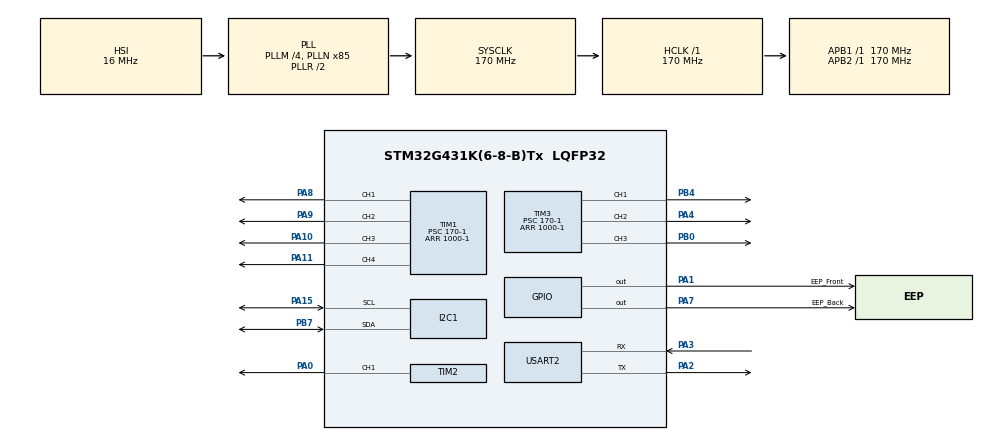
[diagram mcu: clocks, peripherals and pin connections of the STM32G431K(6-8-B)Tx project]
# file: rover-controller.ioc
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I2C1.Timing=0x40B285C2
Mcu.Family=STM32G4
Mcu.Name=STM32G431K(6-8-B)Tx
Mcu.Package=LQFP32
NUCLEO-G431KB.LD2=true
NUCLEO-G431KB.VCP=false
NVIC.I2C1_ER_IRQn=true\:5\:0\:true\:false\:true\:true\:true\:true
NVIC.I2C1_EV_IRQn=true\:5\:0\:true\:false\:true\:true\:true\:true
NVIC.PriorityGroup=NVIC_PRIORITYGROUP_4
PA0.Signal=S_TIM2_CH1
PA1.GPIO_Label=EEP_Front
PA1.Signal=GPIO_Output
PA10.Signal=S_TIM1_CH3
PA11.Signal=S_TIM1_CH4
PA13.Signal=SYS_JTMS-SWDIO
PA14.GPIO_Label=T_SWCLK
PA14.Signal=SYS_JTCK-SWCLK
PA15.Mode=I2C
PA15.Signal=I2C1_SCL
PA2.Mode=Asynchronous
PA2.Signal=USART2_TX
PA3.Mode=Asynchronous
PA3.Signal=USART2_RX
PA4.Signal=S_TIM3_CH2
PA7.GPIO_Label=EEP_Back
PA7.Signal=GPIO_Output
PA8.Signal=S_TIM1_CH1
PA9.Signal=S_TIM1_CH2
PB0.Signal=S_TIM3_CH3
PB4.Signal=S_TIM3_CH1
PB7.Mode=I2C
PB7.Signal=I2C1_SDA
ProjectManager.HeapSize=0x200
ProjectManager.StackSize=0x400
ProjectManager.TargetToolchain=STM32CubeIDE
RCC.ADC12Freq_Value=170000000
RCC.AHBFreq_Value=170000000
RCC.APB1Freq_Value=170000000
RCC.APB1TimFreq_Value=170000000
RCC.APB2Freq_Value=170000000
RCC.APB2TimFreq_Value=170000000
RCC.CortexFreq_Value=170000000
RCC.EXTERNAL_CLOCK_VALUE=12288000
RCC.HCLKFreq_Value=170000000
RCC.HSE_VALUE=8000000
RCC.HSI48_VALUE=48000000
RCC.HSI_VALUE=16000000
RCC.LSE_VALUE=32768
RCC.PLLM=RCC_PLLM_DIV4
RCC.PLLN=85
RCC.SYSCLKFreq_VALUE=170000000
RCC.SYSCLKSource=RCC_SYSCLKSOURCE_PLLCLK
RCC.USBFreq_Value=170000000
RCC.VCOOutputFreq_Value=340000000
SH.S_TIM1_CH1.0=TIM1_CH1,PWM Generation1 CH1
SH.S_TIM1_CH2.0=TIM1_CH2,PWM Generation2 CH2
SH.S_TIM1_CH3.0=TIM1_CH3,PWM Generation3 CH3
SH.S_TIM1_CH4.0=TIM1_CH4,PWM Generation4 CH4
SH.S_TIM2_CH1.0=TIM2_CH1,PWM Generation1 CH1
SH.S_TIM3_CH1.0=TIM3_CH1,PWM Generation1 CH1
SH.S_TIM3_CH2.0=TIM3_CH2,PWM Generation2 CH2
SH.S_TIM3_CH3.0=TIM3_CH3,PWM Generation3 CH3
TIM1.Channel-PWM\ Generation1\ CH1=TIM_CHANNEL_1
TIM1.Channel-PWM\ Generation2\ CH2=TIM_CHANNEL_2
TIM1.Channel-PWM\ Generation3\ CH3=TIM_CHANNEL_3
TIM1.Channel-PWM\ Generation4\ CH4=TIM_CHANNEL_4
TIM1.PeriodNoDither=1000-1
TIM1.Prescaler=170-1
TIM2.Channel-PWM\ Generation1\ CH1=TIM_CHANNEL_1
TIM2.PeriodNoDither=1000-1
TIM2.Prescaler=170-1
TIM3.Channel-PWM\ Generation1\ CH1=TIM_CHANNEL_1
TIM3.Channel-PWM\ Generation2\ CH2=TIM_CHANNEL_2
TIM3.Channel-PWM\ Generation3\ CH3=TIM_CHANNEL_3
TIM3.PeriodNoDither=1000-1
TIM3.Prescaler=170-1
USART2.VirtualMode-Asynchronous=VM_ASYNC
VP_NUCLEO-G431KB_VS_BSP_COMMON.Mode=COMMON
VP_SYS_VS_DBSignals.Mode=DisableDeadBatterySignals
VP_TIM1_VS_ClockSourceINT.Mode=Internal
VP_TIM3_VS_ClockSourceINT.Mode=Internal
board=NUCLEO-G431KB

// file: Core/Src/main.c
/* USER CODE BEGIN Header */
/**
 ******************************************************************************
 * @file           : main.c
 * @brief          : Main program body
 ******************************************************************************
 * @attention
 *
 * Copyright (c) 2026 STMicroelectronics.
 * All rights reserved.
 *
 * This software is licensed under terms that can be found in the LICENSE file
 * in the root directory of this software component.
 * If no LICENSE file comes with this software, it is provided AS-IS.
 *
 ******************************************************************************
 */
/* USER CODE END Header */
#include "main.h"

/* USER CODE BEGIN Includes */
#include "stdio.h"
/* USER CODE END Includes */

/* USER CODE BEGIN PTD */

typedef enum {
	MOTOR_RIGHT_FRONT, MOTOR_LEFT_FRONT, MOTOR_RIGHT_BACK, MOTOR_LEFT_BACK
} Motor;

typedef struct {
	int16_t acc_x;
	int16_t acc_y;
	int16_t acc_z;
	int16_t temp;
	int16_t gyro_x;
	int16_t gyro_y;
	int16_t gyro_z;
} MPU6050_Data;

/* USER CODE END PTD */

/* USER CODE BEGIN PD */

#define MPU6050_ADDR ((uint16_t) 0x68 << 1)
#define MPU6050_WHO_AM_I_ADDR ((uint16_t) 0x75)
#define MPU6050_PWR_MGMT_1 ((uint16_t) 0x6B)
#define MPU6050_GYRO_CONFIG ((uint16_t) 0x1B)
#define MPU6050_ACCEL_CONFIG ((uint16_t) 0x1C)

// This point to ACC_X_H but we use burst reading to read
// all sensor data at once
#define MPU6050_DATA_ADDR ((uint16_t) 0x3B)
/* USER CODE END PD */

I2C_HandleTypeDef hi2c1;

TIM_HandleTypeDef htim1;
TIM_HandleTypeDef htim2;
TIM_HandleTypeDef htim3;

UART_HandleTypeDef huart2;

/* USER CODE BEGIN PV */
uint8_t rx_command;
const uint32_t COMMAND_TIMEOUT_MS = 500;

volatile uint8_t i2c_busy = 0;
volatile uint8_t mpu_data_ready = 0;
volatile uint8_t i2c_error = 0;
// The HAL keeps this address after the start function returns.
static uint8_t mpu_buffer[14];

/* USER CODE END PV */

void SystemClock_Config(void);
static void MX_GPIO_Init(void);
static void MX_USART2_UART_Init(void);
static void MX_TIM1_Init(void);
static void MX_TIM3_Init(void);
static void MX_I2C1_Init(void);
static void MX_TIM2_Init(void);
/* USER CODE BEGIN PFP */

/**
 * @brief  Enables all Timer channels for the Motors as well as EEP.
 *
 * @retval None
 */
void EnableMotorPWM(void);

/**
 * @brief  Sets the speed of a given motor
 *
 * @note   The speed dictated the Duty Cycle following the function
 * 		DutyCycle (%) = CCR / (ARR + 1) x 100
 *
 * 		Where ARR is 999.
 *
 * @param motor Motor to control (MOTOR_LEFT or MOTOR_RIGHT).
 * @param speed PWM value from -999 to +999.
 *              Positive = forward, negative = reverse,
 *              zero = stop.
 */
void Motor_SetSpeed(Motor motor, int32_t speed);

/**
 * @brief  Check the connection and configure the MPU6050.
 */
void EnableMPU6050(void);

/**
 * @brief Start a non-blocking, interrupt-driven MPU6050 read if the buffer is available.
 * @note The completion callback sets mpu_data_ready when the data arrives.
 */
void MPU6050_Read_IT(void);

/**
 * @brief Decode a completed MPU6050 transfer into an MPU6050_Data object
 *        holding the signed values for XYZ acceleration, temperature, and
 *        XYZ angular velocity.
 * @param[out] pData Destination for the decoded readings of type MPU6050_Data.
 * @pre mpu_data_ready is set.
 */
void readMPU6050buffer(MPU6050_Data *pData);

/**
 * @brief Convert raw readings to g, degrees Celsius, and degrees per second
 *        and transmit them over UART.
 * @param[in] pData Sample to print.
 */
void printMPU6050(const MPU6050_Data *pData);
/* USER CODE END PFP */

/* USER CODE BEGIN 0 */
void EnableMotorPWM(void) {
	// Enable EEP Front
	HAL_GPIO_WritePin(EEP_Front_GPIO_Port, EEP_Front_Pin, GPIO_PIN_SET);
	// Right - Front Wheel
	HAL_TIM_PWM_Start(&htim1, TIM_CHANNEL_1);
	HAL_TIM_PWM_Start(&htim1, TIM_CHANNEL_2);
	// Left - Front Wheel
	HAL_TIM_PWM_Start(&htim1, TIM_CHANNEL_3);
	HAL_TIM_PWM_Start(&htim1, TIM_CHANNEL_4);

	// Enable EEP Back
	HAL_GPIO_WritePin(EEP_Back_GPIO_Port, EEP_Back_Pin, GPIO_PIN_SET);
	// Right - Back Wheel
	HAL_TIM_PWM_Start(&htim3, TIM_CHANNEL_1);
	HAL_TIM_PWM_Start(&htim3, TIM_CHANNEL_2);
	// Left - Back Wheel
	HAL_TIM_PWM_Start(&htim3, TIM_CHANNEL_3);
	HAL_TIM_PWM_Start(&htim2, TIM_CHANNEL_1);
}

void Motor_SetSpeed(Motor motor, int32_t speed) {
	// Limit speed so we don't accidentally go crazy
	if (speed > 999)
		speed = 999;
	if (speed < -999)
		speed = -999;

	// Placeholders for a Wheel's PWM channels
	volatile uint32_t *in1;
	volatile uint32_t *in2;

	// Init the placeholders with the correct CCR pointers
	switch (motor) {
	case MOTOR_RIGHT_FRONT:
		in1 = &TIM1->CCR1;
		in2 = &TIM1->CCR2;
		break;
	case MOTOR_LEFT_FRONT:
		in1 = &TIM1->CCR3;
		in2 = &TIM1->CCR4;
		break;
	case MOTOR_RIGHT_BACK:
		in1 = &TIM3->CCR1;
		in2 = &TIM3->CCR2;
		break;
	case MOTOR_LEFT_BACK:
		in1 = &TIM3->CCR3;
		in2 = &TIM2->CCR1;
		break;
	default:
		return;
	}

	// Positive speed drives forward through IN1.
	if (speed > 0) {
		*in1 = (uint32_t) speed;
		*in2 = 0;
	} else if (speed < 0) {
		*in1 = 0;
		// the CCR registers are unsigned int, so we need a - to cancel it out
		*in2 = (uint32_t) (-speed);
	} else {
		*in1 = 0;
		*in2 = 0;
	}

}

void EnableMPU6050(void) {
	const uint8_t expected = 0x68; // We expect the upper 6bits of the slave address
	uint8_t pRead;
	uint8_t pWrite;

	HAL_StatusTypeDef status = HAL_I2C_Mem_Read(&hi2c1, MPU6050_ADDR,
			MPU6050_WHO_AM_I_ADDR, I2C_MEMADD_SIZE_8BIT, &pRead, 1, 1000);
	if (status == HAL_OK && pRead == expected) {
		// Connection established, we can proceed with initialization
		// Wake up by setting all PWR_MGMT_1 bits to 0, including the SLEEP bit (6)
		pWrite = 0;
		HAL_I2C_Mem_Write(&hi2c1, MPU6050_ADDR, MPU6050_PWR_MGMT_1,
		I2C_MEMADD_SIZE_8BIT, &pWrite, 1, 1000);

		// Set gyroscope range to lowest --> 250 degrees/s (highest sensitivity)
		pWrite = 0;
		HAL_I2C_Mem_Write(&hi2c1, MPU6050_ADDR, MPU6050_GYRO_CONFIG,
		I2C_MEMADD_SIZE_8BIT, &pWrite, 1, 1000);

		// Set accelerometer range to lowest --> -/+ 2g (highest sensitivity)
		pWrite = 0;
		HAL_I2C_Mem_Write(&hi2c1, MPU6050_ADDR, MPU6050_ACCEL_CONFIG,
		I2C_MEMADD_SIZE_8BIT, &pWrite, 1, 1000);

	}
}

void MPU6050_Read_IT(void) {
	// An active transfer or an unread sample still owns the buffer.
	if (i2c_busy == 0 && mpu_data_ready == 0) {
		i2c_busy = 1;

		HAL_StatusTypeDef status;

		status = HAL_I2C_Mem_Read_IT(&hi2c1,
		MPU6050_ADDR,
		MPU6050_DATA_ADDR,
		I2C_MEMADD_SIZE_8BIT, mpu_buffer, sizeof mpu_buffer);

		// A failed start needs us to clear the software busy flag.
		if (status != HAL_OK) {
			i2c_busy = 0;
			i2c_error = 1;
		}
	}
}

void HAL_I2C_MemRxCpltCallback(I2C_HandleTypeDef *hi2c) {
	if (hi2c->Instance == I2C1) {
		i2c_busy = 0;
		mpu_data_ready = 1;
	}
}

void HAL_I2C_ErrorCallback(I2C_HandleTypeDef *hi2c) {
	if (hi2c->Instance == I2C1) {
		i2c_busy = 0;
		mpu_data_ready = 0;
		i2c_error = 1;
	}
}

void readMPU6050buffer(MPU6050_Data *pData) {
	pData->acc_x = (int16_t) (mpu_buffer[0] << 8 | mpu_buffer[1]); // 0x3B (H), 0x3C (L), bitwise-OR
	pData->acc_y = (int16_t) (mpu_buffer[2] << 8 | mpu_buffer[3]);
	pData->acc_z = (int16_t) (mpu_buffer[4] << 8 | mpu_buffer[5]);
	pData->temp = (int16_t) (mpu_buffer[6] << 8 | mpu_buffer[7]);
	pData->gyro_x = (int16_t) (mpu_buffer[8] << 8 | mpu_buffer[9]);
	pData->gyro_y = (int16_t) (mpu_buffer[10] << 8 | mpu_buffer[11]);
	pData->gyro_z = (int16_t) (mpu_buffer[12] << 8 | mpu_buffer[13]);
}

void printMPU6050(const MPU6050_Data *pData) {
	char tx_buffer[128];

	float acc_x_f = pData->acc_x / 16384.0f;
	float acc_y_f = pData->acc_y / 16384.0f;
	float acc_z_f = pData->acc_z / 16384.0f;

	float temp_f = pData->temp / 340.0f + 36.53f;

	float gyro_x_f = pData->gyro_x / 131.068f;
	float gyro_y_f = pData->gyro_y / 131.068f;
	float gyro_z_f = pData->gyro_z / 131.068f;

	int len = sprintf(tx_buffer,
			"AX:%f, AY:%f, AZ:%f, T:%f, GX:%f, GY:%f, GZ:%f\r\n", acc_x_f,
			acc_y_f, acc_z_f, temp_f, gyro_x_f, gyro_y_f, gyro_z_f);

	HAL_UART_Transmit(&huart2, (uint8_t*) tx_buffer, len, HAL_MAX_DELAY);
}

/* USER CODE END 0 */

int main(void) {

	/* MCU Configuration--------------------------------------------------------*/

	/* Reset of all peripherals, Initializes the Flash interface and the Systick. */
	HAL_Init();

	/* Configure the system clock */
	SystemClock_Config();

	/* Initialize all configured peripherals */
	MX_GPIO_Init();
	MX_USART2_UART_Init();
	MX_TIM1_Init();
	MX_TIM3_Init();
	MX_I2C1_Init();
	MX_TIM2_Init();
	/* USER CODE BEGIN 2 */

	EnableMotorPWM();
	EnableMPU6050();

	/* USER CODE END 2 */

	/* Initialize leds */
	BSP_LED_Init(LED_GREEN);

	/* Infinite loop */
	/* USER CODE BEGIN WHILE */

	MPU6050_Data mpuData;
	// Track when the last motor command arrived for the watchdog.
	uint32_t last_command_time = HAL_GetTick();

	while (1) {

		if (mpu_data_ready) {
			readMPU6050buffer(&mpuData);
			// The sample is now in mpuData, so the receive buffer can be reused.
			mpu_data_ready = 0;
			printMPU6050(&mpuData);
		}
		MPU6050_Read_IT();

		// Check the timeout (Watchdog)
		if ((HAL_GetTick() - last_command_time) >= COMMAND_TIMEOUT_MS) {
			// If there was no command in a while (maybe the Rock died), stop the wheels.
			Motor_SetSpeed(MOTOR_RIGHT_FRONT, 0);
			Motor_SetSpeed(MOTOR_LEFT_FRONT, 0);
			Motor_SetSpeed(MOTOR_RIGHT_BACK, 0);
			Motor_SetSpeed(MOTOR_LEFT_BACK, 0);
		}
		// Receive a command via UART
		HAL_StatusTypeDef status = HAL_UART_Receive(&huart2, &rx_command, 1,
				50);
		if (status == HAL_OK) {
			switch (rx_command) {
			case 'w':
				// Drive forward
				Motor_SetSpeed(MOTOR_RIGHT_FRONT, 500);
				Motor_SetSpeed(MOTOR_LEFT_FRONT, 500);
				Motor_SetSpeed(MOTOR_RIGHT_BACK, 500);
				Motor_SetSpeed(MOTOR_LEFT_BACK, 500);
				last_command_time = HAL_GetTick();
				break;
			case 's':
				// Drive backwards
				Motor_SetSpeed(MOTOR_RIGHT_FRONT, -500);
				Motor_SetSpeed(MOTOR_LEFT_FRONT, -500);
				Motor_SetSpeed(MOTOR_RIGHT_BACK, -500);
				Motor_SetSpeed(MOTOR_LEFT_BACK, -500);
				last_command_time = HAL_GetTick();
				break;
			case 'd':
				// Turn Right
				Motor_SetSpeed(MOTOR_RIGHT_FRONT, -500);
				Motor_SetSpeed(MOTOR_LEFT_FRONT, 500);
				Motor_SetSpeed(MOTOR_RIGHT_BACK, -500);
				Motor_SetSpeed(MOTOR_LEFT_BACK, 500);
				last_command_time = HAL_GetTick();
				break;
			case 'a':
				// Turn Left
				Motor_SetSpeed(MOTOR_RIGHT_FRONT, 500);
				Motor_SetSpeed(MOTOR_LEFT_FRONT, -500);
				Motor_SetSpeed(MOTOR_RIGHT_BACK, 500);
				Motor_SetSpeed(MOTOR_LEFT_BACK, -500);
				last_command_time = HAL_GetTick();
				break;

			case ' ': // Space
				// Stop
				Motor_SetSpeed(MOTOR_RIGHT_FRONT, 0);
				Motor_SetSpeed(MOTOR_LEFT_FRONT, 0);
				Motor_SetSpeed(MOTOR_RIGHT_BACK, 0);
				Motor_SetSpeed(MOTOR_LEFT_BACK, 0);
				last_command_time = HAL_GetTick();
				break;
			default:
				break;
			}

		}

		/* USER CODE END WHILE */

	}
}

void SystemClock_Config(void) {
	RCC_OscInitTypeDef RCC_OscInitStruct = { 0 };
	RCC_ClkInitTypeDef RCC_ClkInitStruct = { 0 };

	/** Configure the main internal regulator output voltage
	 */
	HAL_PWREx_ControlVoltageScaling(PWR_REGULATOR_VOLTAGE_SCALE1_BOOST);

	/** Initializes the RCC Oscillators according to the specified parameters
	 * in the RCC_OscInitTypeDef structure.
	 */
	RCC_OscInitStruct.OscillatorType = RCC_OSCILLATORTYPE_HSI;
	RCC_OscInitStruct.HSIState = RCC_HSI_ON;
	RCC_OscInitStruct.HSICalibrationValue = RCC_HSICALIBRATION_DEFAULT;
	RCC_OscInitStruct.PLL.PLLState = RCC_PLL_ON;
	RCC_OscInitStruct.PLL.PLLSource = RCC_PLLSOURCE_HSI;
	RCC_OscInitStruct.PLL.PLLM = RCC_PLLM_DIV4;
	RCC_OscInitStruct.PLL.PLLN = 85;
	RCC_OscInitStruct.PLL.PLLP = RCC_PLLP_DIV2;
	RCC_OscInitStruct.PLL.PLLQ = RCC_PLLQ_DIV2;
	RCC_OscInitStruct.PLL.PLLR = RCC_PLLR_DIV2;
	if (HAL_RCC_OscConfig(&RCC_OscInitStruct) != HAL_OK) {
		Error_Handler();
	}

	/** Initializes the CPU, AHB and APB buses clocks
	 */
	RCC_ClkInitStruct.ClockType = RCC_CLOCKTYPE_HCLK | RCC_CLOCKTYPE_SYSCLK
			| RCC_CLOCKTYPE_PCLK1 | RCC_CLOCKTYPE_PCLK2;
	RCC_ClkInitStruct.SYSCLKSource = RCC_SYSCLKSOURCE_PLLCLK;
	RCC_ClkInitStruct.AHBCLKDivider = RCC_SYSCLK_DIV1;
	RCC_ClkInitStruct.APB1CLKDivider = RCC_HCLK_DIV1;
	RCC_ClkInitStruct.APB2CLKDivider = RCC_HCLK_DIV1;

	if (HAL_RCC_ClockConfig(&RCC_ClkInitStruct, FLASH_LATENCY_4) != HAL_OK) {
		Error_Handler();
	}
}

static void MX_I2C1_Init(void) {

	hi2c1.Instance = I2C1;
	hi2c1.Init.Timing = 0x40B285C2;
	hi2c1.Init.OwnAddress1 = 0;
	hi2c1.Init.AddressingMode = I2C_ADDRESSINGMODE_7BIT;
	hi2c1.Init.DualAddressMode = I2C_DUALADDRESS_DISABLE;
	hi2c1.Init.OwnAddress2 = 0;
	hi2c1.Init.OwnAddress2Masks = I2C_OA2_NOMASK;
	hi2c1.Init.GeneralCallMode = I2C_GENERALCALL_DISABLE;
	hi2c1.Init.NoStretchMode = I2C_NOSTRETCH_DISABLE;
	if (HAL_I2C_Init(&hi2c1) != HAL_OK) {
		Error_Handler();
	}

	/** Configure Analogue filter
	 */
	if (HAL_I2CEx_ConfigAnalogFilter(&hi2c1, I2C_ANALOGFILTER_ENABLE)
			!= HAL_OK) {
		Error_Handler();
	}

	/** Configure Digital filter
	 */
	if (HAL_I2CEx_ConfigDigitalFilter(&hi2c1, 0) != HAL_OK) {
		Error_Handler();
	}

}

static void MX_TIM1_Init(void) {

	TIM_ClockConfigTypeDef sClockSourceConfig = { 0 };
	TIM_MasterConfigTypeDef sMasterConfig = { 0 };
	TIM_OC_InitTypeDef sConfigOC = { 0 };
	TIM_BreakDeadTimeConfigTypeDef sBreakDeadTimeConfig = { 0 };

	htim1.Instance = TIM1;
	htim1.Init.Prescaler = 170 - 1;
	htim1.Init.CounterMode = TIM_COUNTERMODE_UP;
	htim1.Init.Period = 999;
	htim1.Init.ClockDivision = TIM_CLOCKDIVISION_DIV1;
	htim1.Init.RepetitionCounter = 0;
	htim1.Init.AutoReloadPreload = TIM_AUTORELOAD_PRELOAD_DISABLE;
	if (HAL_TIM_Base_Init(&htim1) != HAL_OK) {
		Error_Handler();
	}
	sClockSourceConfig.ClockSource = TIM_CLOCKSOURCE_INTERNAL;
	if (HAL_TIM_ConfigClockSource(&htim1, &sClockSourceConfig) != HAL_OK) {
		Error_Handler();
	}
	if (HAL_TIM_PWM_Init(&htim1) != HAL_OK) {
		Error_Handler();
	}
	sMasterConfig.MasterOutputTrigger = TIM_TRGO_RESET;
	sMasterConfig.MasterOutputTrigger2 = TIM_TRGO2_RESET;
	sMasterConfig.MasterSlaveMode = TIM_MASTERSLAVEMODE_DISABLE;
	if (HAL_TIMEx_MasterConfigSynchronization(&htim1, &sMasterConfig)
			!= HAL_OK) {
		Error_Handler();
	}
	sConfigOC.OCMode = TIM_OCMODE_PWM1;
	sConfigOC.Pulse = 0;
	sConfigOC.OCPolarity = TIM_OCPOLARITY_HIGH;
	sConfigOC.OCNPolarity = TIM_OCNPOLARITY_HIGH;
	sConfigOC.OCFastMode = TIM_OCFAST_DISABLE;
	sConfigOC.OCIdleState = TIM_OCIDLESTATE_RESET;
	sConfigOC.OCNIdleState = TIM_OCNIDLESTATE_RESET;
	if (HAL_TIM_PWM_ConfigChannel(&htim1, &sConfigOC, TIM_CHANNEL_1)
			!= HAL_OK) {
		Error_Handler();
	}
	if (HAL_TIM_PWM_ConfigChannel(&htim1, &sConfigOC, TIM_CHANNEL_2)
			!= HAL_OK) {
		Error_Handler();
	}
	if (HAL_TIM_PWM_ConfigChannel(&htim1, &sConfigOC, TIM_CHANNEL_3)
			!= HAL_OK) {
		Error_Handler();
	}
	if (HAL_TIM_PWM_ConfigChannel(&htim1, &sConfigOC, TIM_CHANNEL_4)
			!= HAL_OK) {
		Error_Handler();
	}
	sBreakDeadTimeConfig.OffStateRunMode = TIM_OSSR_DISABLE;
	sBreakDeadTimeConfig.OffStateIDLEMode = TIM_OSSI_DISABLE;
	sBreakDeadTimeConfig.LockLevel = TIM_LOCKLEVEL_OFF;
	sBreakDeadTimeConfig.DeadTime = 0;
	sBreakDeadTimeConfig.BreakState = TIM_BREAK_DISABLE;
	sBreakDeadTimeConfig.BreakPolarity = TIM_BREAKPOLARITY_HIGH;
	sBreakDeadTimeConfig.BreakFilter = 0;
	sBreakDeadTimeConfig.BreakAFMode = TIM_BREAK_AFMODE_INPUT;
	sBreakDeadTimeConfig.Break2State = TIM_BREAK2_DISABLE;
	sBreakDeadTimeConfig.Break2Polarity = TIM_BREAK2POLARITY_HIGH;
	sBreakDeadTimeConfig.Break2Filter = 0;
	sBreakDeadTimeConfig.Break2AFMode = TIM_BREAK_AFMODE_INPUT;
	sBreakDeadTimeConfig.AutomaticOutput = TIM_AUTOMATICOUTPUT_DISABLE;
	if (HAL_TIMEx_ConfigBreakDeadTime(&htim1, &sBreakDeadTimeConfig)
			!= HAL_OK) {
		Error_Handler();
	}
	HAL_TIM_MspPostInit(&htim1);

}

static void MX_TIM2_Init(void) {

	TIM_MasterConfigTypeDef sMasterConfig = { 0 };
	TIM_OC_InitTypeDef sConfigOC = { 0 };

	htim2.Instance = TIM2;
	htim2.Init.Prescaler = 170 - 1;
	htim2.Init.CounterMode = TIM_COUNTERMODE_UP;
	htim2.Init.Period = 999;
	htim2.Init.ClockDivision = TIM_CLOCKDIVISION_DIV1;
	htim2.Init.AutoReloadPreload = TIM_AUTORELOAD_PRELOAD_DISABLE;
	if (HAL_TIM_PWM_Init(&htim2) != HAL_OK) {
		Error_Handler();
	}
	sMasterConfig.MasterOutputTrigger = TIM_TRGO_RESET;
	sMasterConfig.MasterSlaveMode = TIM_MASTERSLAVEMODE_DISABLE;
	if (HAL_TIMEx_MasterConfigSynchronization(&htim2, &sMasterConfig)
			!= HAL_OK) {
		Error_Handler();
	}
	sConfigOC.OCMode = TIM_OCMODE_PWM1;
	sConfigOC.Pulse = 0;
	sConfigOC.OCPolarity = TIM_OCPOLARITY_HIGH;
	sConfigOC.OCFastMode = TIM_OCFAST_DISABLE;
	if (HAL_TIM_PWM_ConfigChannel(&htim2, &sConfigOC, TIM_CHANNEL_1)
			!= HAL_OK) {
		Error_Handler();
	}
	HAL_TIM_MspPostInit(&htim2);

}

static void MX_TIM3_Init(void) {

	TIM_ClockConfigTypeDef sClockSourceConfig = { 0 };
	TIM_MasterConfigTypeDef sMasterConfig = { 0 };
	TIM_OC_InitTypeDef sConfigOC = { 0 };

	htim3.Instance = TIM3;
	htim3.Init.Prescaler = 170 - 1;
	htim3.Init.CounterMode = TIM_COUNTERMODE_UP;
	htim3.Init.Period = 999;
	htim3.Init.ClockDivision = TIM_CLOCKDIVISION_DIV1;
	htim3.Init.AutoReloadPreload = TIM_AUTORELOAD_PRELOAD_DISABLE;
	if (HAL_TIM_Base_Init(&htim3) != HAL_OK) {
		Error_Handler();
	}
	sClockSourceConfig.ClockSource = TIM_CLOCKSOURCE_INTERNAL;
	if (HAL_TIM_ConfigClockSource(&htim3, &sClockSourceConfig) != HAL_OK) {
		Error_Handler();
	}
	if (HAL_TIM_PWM_Init(&htim3) != HAL_OK) {
		Error_Handler();
	}
	sMasterConfig.MasterOutputTrigger = TIM_TRGO_RESET;
	sMasterConfig.MasterSlaveMode = TIM_MASTERSLAVEMODE_DISABLE;
	if (HAL_TIMEx_MasterConfigSynchronization(&htim3, &sMasterConfig)
			!= HAL_OK) {
		Error_Handler();
	}
	sConfigOC.OCMode = TIM_OCMODE_PWM1;
	sConfigOC.Pulse = 0;
	sConfigOC.OCPolarity = TIM_OCPOLARITY_HIGH;
	sConfigOC.OCFastMode = TIM_OCFAST_DISABLE;
	if (HAL_TIM_PWM_ConfigChannel(&htim3, &sConfigOC, TIM_CHANNEL_1)
			!= HAL_OK) {
		Error_Handler();
	}
	if (HAL_TIM_PWM_ConfigChannel(&htim3, &sConfigOC, TIM_CHANNEL_2)
			!= HAL_OK) {
		Error_Handler();
	}
	if (HAL_TIM_PWM_ConfigChannel(&htim3, &sConfigOC, TIM_CHANNEL_3)
			!= HAL_OK) {
		Error_Handler();
	}
	HAL_TIM_MspPostInit(&htim3);

}

static void MX_USART2_UART_Init(void) {

	huart2.Instance = USART2;
	huart2.Init.BaudRate = 115200;
	huart2.Init.WordLength = UART_WORDLENGTH_8B;
	huart2.Init.StopBits = UART_STOPBITS_1;
	huart2.Init.Parity = UART_PARITY_NONE;
	huart2.Init.Mode = UART_MODE_TX_RX;
	huart2.Init.HwFlowCtl = UART_HWCONTROL_NONE;
	huart2.Init.OverSampling = UART_OVERSAMPLING_16;
	huart2.Init.OneBitSampling = UART_ONE_BIT_SAMPLE_DISABLE;
	huart2.Init.ClockPrescaler = UART_PRESCALER_DIV1;
	huart2.AdvancedInit.AdvFeatureInit = UART_ADVFEATURE_NO_INIT;
	if (HAL_UART_Init(&huart2) != HAL_OK) {
		Error_Handler();
	}
	if (HAL_UARTEx_SetTxFifoThreshold(&huart2, UART_TXFIFO_THRESHOLD_1_8)
			!= HAL_OK) {
		Error_Handler();
	}
	if (HAL_UARTEx_SetRxFifoThreshold(&huart2, UART_RXFIFO_THRESHOLD_1_8)
			!= HAL_OK) {
		Error_Handler();
	}
	if (HAL_UARTEx_DisableFifoMode(&huart2) != HAL_OK) {
		Error_Handler();
	}

}

static void MX_GPIO_Init(void) {
	GPIO_InitTypeDef GPIO_InitStruct = { 0 };

	/* GPIO Ports Clock Enable */
	__HAL_RCC_GPIOA_CLK_ENABLE();
	__HAL_RCC_GPIOB_CLK_ENABLE();

	/*Configure GPIO pin Output Level */
	HAL_GPIO_WritePin(GPIOA, EEP_Front_Pin | EEP_Back_Pin, GPIO_PIN_RESET);

	/*Configure GPIO pins : EEP_Front_Pin EEP_Back_Pin */
	GPIO_InitStruct.Pin = EEP_Front_Pin | EEP_Back_Pin;
	GPIO_InitStruct.Mode = GPIO_MODE_OUTPUT_PP;
	GPIO_InitStruct.Pull = GPIO_NOPULL;
	GPIO_InitStruct.Speed = GPIO_SPEED_FREQ_LOW;
	HAL_GPIO_Init(GPIOA, &GPIO_InitStruct);

}

/* USER CODE BEGIN Header */
/**
 ******************************************************************************
 * @file           : main.c
 * @brief          : Main program body
 ******************************************************************************
 * @attention
 *
 * Copyright (c) 2026 STMicroelectronics.
 * All rights reserved.
 *
 * This software is licensed under terms that can be found in the LICENSE file
 * in the root directory of this software component.
 * If no LICENSE file comes with this software, it is provided AS-IS.
 *
 ******************************************************************************
 */
/* USER CODE END Header */

void Error_Handler(void) {
	__disable_irq();
	while (1) {
	}
}
#ifdef USE_FULL_ASSERT
/**
  * @brief  Reports the name of the source file and the source line number
  *         where the assert_param error has occurred.
  * @param  file: pointer to the source file name
  * @param  line: assert_param error line source number
  * @retval None
  */
void assert_failed(uint8_t *file, uint32_t line)
{
  /* USER CODE BEGIN 6 */
  /* User can add his own implementation to report the file name and line
     number, ex: printf("Wrong parameters value: file %s on line %d\r\n", file,
     line) */
  /* USER CODE END 6 */
}
#endif /* USE_FULL_ASSERT */
